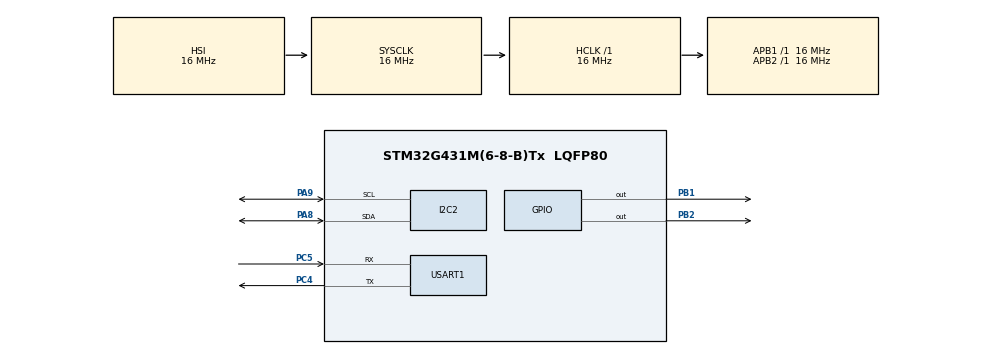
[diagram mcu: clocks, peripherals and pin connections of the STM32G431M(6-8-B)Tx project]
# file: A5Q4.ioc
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I2C2.Timing=0x00503D58
Mcu.Family=STM32G4
Mcu.Name=STM32G431M(6-8-B)Tx
Mcu.Package=LQFP80
NVIC.PriorityGroup=NVIC_PRIORITYGROUP_4
PA13.Mode=Serial_Wire
PA13.Signal=SYS_JTMS-SWDIO
PA14.Mode=Serial_Wire
PA14.Signal=SYS_JTCK-SWCLK
PA8.Mode=I2C
PA8.Signal=I2C2_SDA
PA9.Mode=I2C
PA9.Signal=I2C2_SCL
PB1.Signal=GPIO_Output
PB2.Signal=GPIO_Output
PC4.Mode=Asynchronous
PC4.Signal=USART1_TX
PC5.Mode=Asynchronous
PC5.Signal=USART1_RX
ProjectManager.HeapSize=0x200
ProjectManager.StackSize=0x400
ProjectManager.TargetToolchain=STM32CubeIDE
RCC.AHBFreq_Value=16000000
RCC.APB1Freq_Value=16000000
RCC.APB1TimFreq_Value=16000000
RCC.APB2Freq_Value=16000000
RCC.APB2TimFreq_Value=16000000
RCC.CortexFreq_Value=16000000
RCC.EXTERNAL_CLOCK_VALUE=12288000
RCC.HCLKFreq_Value=16000000
RCC.HSE_VALUE=8000000
RCC.HSI48_VALUE=48000000
RCC.HSI_VALUE=16000000
RCC.LSE_VALUE=32768
RCC.SYSCLKFreq_VALUE=16000000
RCC.USBFreq_Value=64000000
RCC.VCOOutputFreq_Value=128000000
USART1.VirtualMode-Asynchronous=VM_ASYNC
VP_SYS_VS_DBSignals.Mode=DisableDeadBatterySignals
board=custom

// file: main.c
/* USER CODE BEGIN Header */
/**
  ******************************************************************************
  * @file           : main.c
  * @brief          : Main program body
  ******************************************************************************
  * @attention
  *
  * Copyright (c) 2024 STMicroelectronics.
  * All rights reserved.
  *
  * This software is licensed under terms that can be found in the LICENSE file
  * in the root directory of this software component.
  * If no LICENSE file comes with this software, it is provided AS-IS.
  *
  ******************************************************************************
  */
/* USER CODE END Header */
#include "main.h"

I2C_HandleTypeDef hi2c2;

UART_HandleTypeDef huart1;

void SystemClock_Config(void);
static void MX_GPIO_Init(void);
static void MX_I2C2_Init(void);
static void MX_USART1_UART_Init(void);

int main(void)
{

  /* MCU Configuration--------------------------------------------------------*/

  /* Reset of all peripherals, Initializes the Flash interface and the Systick. */
  HAL_Init();

  /* Configure the system clock */
  SystemClock_Config();

  /* Initialize all configured peripherals */
  MX_GPIO_Init();
  MX_I2C2_Init();
  MX_USART1_UART_Init();
  /* USER CODE BEGIN 2 */

#define SHT3_ADDRESS_WRITE (0x70 << 1)
#define SHT3_ADDRESS_READ (0x70 << 1) | 0x01

uint8_t regHumi [2];
regHumi[0] = 0x5C;
regHumi[1] = 0x24;
uint8_t rawHumi[2];
uint16_t rawHumi16;
float Humi;
char printBuff[64]= {0};

if(HAL_I2C_IsDeviceReady(&hi2c2, SHT3_ADDRESS_WRITE, 2, 100)== 0){

	  HAL_UART_Transmit(&huart1, "\n\rDevice is Ready", sizeof("\n\rDevice is Ready"), 1000);
}
else{
	  HAL_UART_Transmit(&huart1, "\n\rDevice is NOT Ready", sizeof("\n\rDevice is NOT Ready"), 1000);
	  return 0;
}
  /* USER CODE END 2 */

  /* Infinite loop */
  /* USER CODE BEGIN WHILE */
  while (1)
  {

	  HAL_I2C_Master_Transmit(&hi2c2, SHT3_ADDRESS_WRITE ,regHumi, 2, 100);
	  HAL_Delay(30);

	  HAL_I2C_Master_Receive(&hi2c2,SHT3_ADDRESS_READ , rawHumi, 2, 100);

	  rawHumi16 = ((rawHumi[0]<<8)| rawHumi[1]);
	  Humi = ((float)100*rawHumi16/(float)65536);
	  sprintf(printBuff, "\n\rHumidity : %.1f %%RH", Humi);
	  HAL_UART_Transmit(&huart1, printBuff, sizeof(printBuff), 1000);
	  memset(printBuff, 0, sizeof(printBuff));
	  HAL_Delay(1000);
	  if (Humi >= 70){
		  HAL_GPIO_WritePin(GPIOB, GPIO_PIN_2, 0);
		  HAL_GPIO_WritePin(GPIOB, GPIO_PIN_1, 1);
	  } if (Humi <= 70){
		  HAL_GPIO_WritePin(GPIOB, GPIO_PIN_1, 0);
		  HAL_GPIO_WritePin(GPIOB, GPIO_PIN_2, 1);
	  }
    /* USER CODE END WHILE */

  }
}

void SystemClock_Config(void)
{
  RCC_OscInitTypeDef RCC_OscInitStruct = {0};
  RCC_ClkInitTypeDef RCC_ClkInitStruct = {0};

  /** Configure the main internal regulator output voltage
  */
  HAL_PWREx_ControlVoltageScaling(PWR_REGULATOR_VOLTAGE_SCALE1);

  /** Initializes the RCC Oscillators according to the specified parameters
  * in the RCC_OscInitTypeDef structure.
  */
  RCC_OscInitStruct.OscillatorType = RCC_OSCILLATORTYPE_HSI;
  RCC_OscInitStruct.HSIState = RCC_HSI_ON;
  RCC_OscInitStruct.HSICalibrationValue = RCC_HSICALIBRATION_DEFAULT;
  RCC_OscInitStruct.PLL.PLLState = RCC_PLL_NONE;
  if (HAL_RCC_OscConfig(&RCC_OscInitStruct) != HAL_OK)
  {
    Error_Handler();
  }

  /** Initializes the CPU, AHB and APB buses clocks
  */
  RCC_ClkInitStruct.ClockType = RCC_CLOCKTYPE_HCLK|RCC_CLOCKTYPE_SYSCLK
                              |RCC_CLOCKTYPE_PCLK1|RCC_CLOCKTYPE_PCLK2;
  RCC_ClkInitStruct.SYSCLKSource = RCC_SYSCLKSOURCE_HSI;
  RCC_ClkInitStruct.AHBCLKDivider = RCC_SYSCLK_DIV1;
  RCC_ClkInitStruct.APB1CLKDivider = RCC_HCLK_DIV1;
  RCC_ClkInitStruct.APB2CLKDivider = RCC_HCLK_DIV1;

  if (HAL_RCC_ClockConfig(&RCC_ClkInitStruct, FLASH_LATENCY_0) != HAL_OK)
  {
    Error_Handler();
  }
}

static void MX_I2C2_Init(void)
{

  hi2c2.Instance = I2C2;
  hi2c2.Init.Timing = 0x00503D58;
  hi2c2.Init.OwnAddress1 = 0;
  hi2c2.Init.AddressingMode = I2C_ADDRESSINGMODE_7BIT;
  hi2c2.Init.DualAddressMode = I2C_DUALADDRESS_DISABLE;
  hi2c2.Init.OwnAddress2 = 0;
  hi2c2.Init.OwnAddress2Masks = I2C_OA2_NOMASK;
  hi2c2.Init.GeneralCallMode = I2C_GENERALCALL_DISABLE;
  hi2c2.Init.NoStretchMode = I2C_NOSTRETCH_DISABLE;
  if (HAL_I2C_Init(&hi2c2) != HAL_OK)
  {
    Error_Handler();
  }

  /** Configure Analogue filter
  */
  if (HAL_I2CEx_ConfigAnalogFilter(&hi2c2, I2C_ANALOGFILTER_ENABLE) != HAL_OK)
  {
    Error_Handler();
  }

  /** Configure Digital filter
  */
  if (HAL_I2CEx_ConfigDigitalFilter(&hi2c2, 0) != HAL_OK)
  {
    Error_Handler();
  }

}

static void MX_USART1_UART_Init(void)
{

  huart1.Instance = USART1;
  huart1.Init.BaudRate = 115200;
  huart1.Init.WordLength = UART_WORDLENGTH_8B;
  huart1.Init.StopBits = UART_STOPBITS_1;
  huart1.Init.Parity = UART_PARITY_NONE;
  huart1.Init.Mode = UART_MODE_TX_RX;
  huart1.Init.HwFlowCtl = UART_HWCONTROL_NONE;
  huart1.Init.OverSampling = UART_OVERSAMPLING_16;
  huart1.Init.OneBitSampling = UART_ONE_BIT_SAMPLE_DISABLE;
  huart1.Init.ClockPrescaler = UART_PRESCALER_DIV1;
  huart1.AdvancedInit.AdvFeatureInit = UART_ADVFEATURE_NO_INIT;
  if (HAL_UART_Init(&huart1) != HAL_OK)
  {
    Error_Handler();
  }
  if (HAL_UARTEx_SetTxFifoThreshold(&huart1, UART_TXFIFO_THRESHOLD_1_8) != HAL_OK)
  {
    Error_Handler();
  }
  if (HAL_UARTEx_SetRxFifoThreshold(&huart1, UART_RXFIFO_THRESHOLD_1_8) != HAL_OK)
  {
    Error_Handler();
  }
  if (HAL_UARTEx_DisableFifoMode(&huart1) != HAL_OK)
  {
    Error_Handler();
  }

}

static void MX_GPIO_Init(void)
{
  GPIO_InitTypeDef GPIO_InitStruct = {0};

  /* GPIO Ports Clock Enable */
  __HAL_RCC_GPIOC_CLK_ENABLE();
  __HAL_RCC_GPIOB_CLK_ENABLE();
  __HAL_RCC_GPIOA_CLK_ENABLE();

  /*Configure GPIO pin Output Level */
  HAL_GPIO_WritePin(GPIOB, GPIO_PIN_1|GPIO_PIN_2, GPIO_PIN_RESET);

  /*Configure GPIO pins : PB1 PB2 */
  GPIO_InitStruct.Pin = GPIO_PIN_1|GPIO_PIN_2;
  GPIO_InitStruct.Mode = GPIO_MODE_OUTPUT_PP;
  GPIO_InitStruct.Pull = GPIO_NOPULL;
  GPIO_InitStruct.Speed = GPIO_SPEED_FREQ_LOW;
  HAL_GPIO_Init(GPIOB, &GPIO_InitStruct);

}

void Error_Handler(void)
{
  __disable_irq();
  while (1)
  {
  }
}
